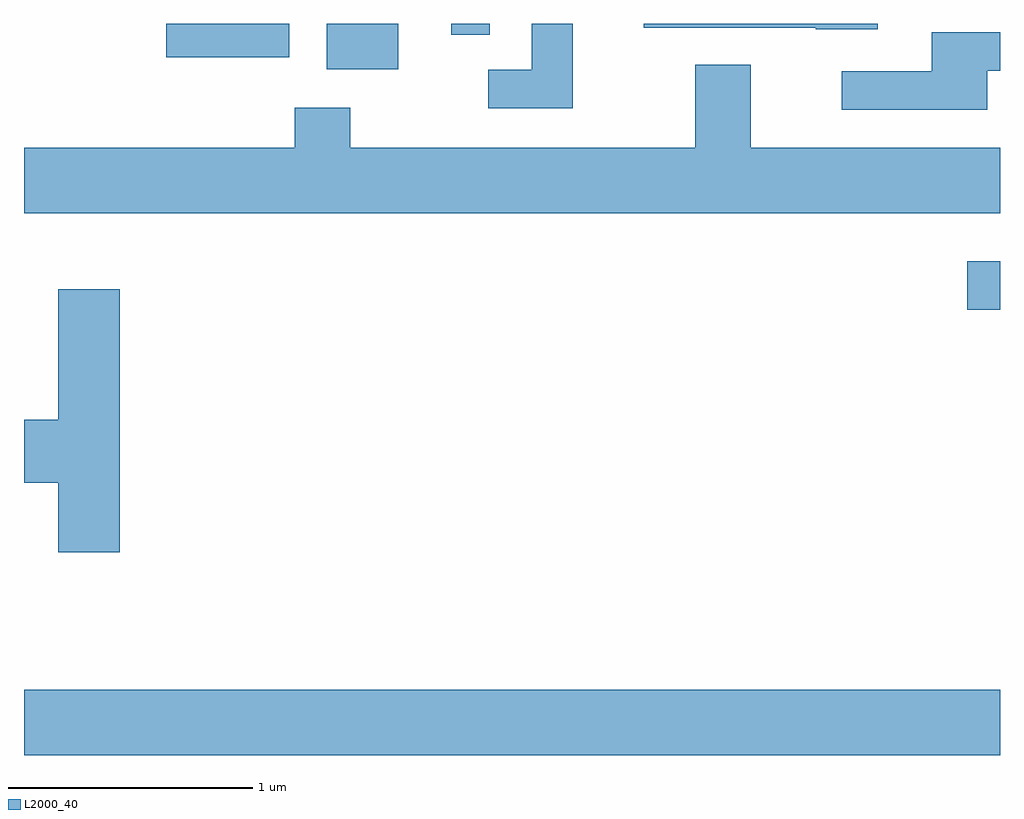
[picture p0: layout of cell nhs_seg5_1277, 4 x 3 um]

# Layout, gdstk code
import gdstk
lib = gdstk.Library(unit=1e-6, precision=1e-09)
def R(c, l, rs):  # rectangles x0, y0, x1, y1
    for r in rs: c.add(gdstk.rectangle(r[:2], r[2:], *l))
def P(c, l, *ps):  # polygons
    for p in ps: c.add(gdstk.Polygon(p, *l))
L2000_40 = (2000, 40)

nhs_seg5_1277 = lib.new_cell('nhs_seg5_1277')
R(nhs_seg5_1277, L2000_40, [(223.611,1399.076,227.611,1399.344), (227.476,1400.901,227.611,1401.099), (224.851,1401.886,225.144,1402.072), (224.193,1401.936,224.699,1402.072), (225.361,1402.028,225.519,1402.072)])
P(nhs_seg5_1277, L2000_40, [(227.109,1402.072),(226.151,1402.072),(226.151,1402.056),(226.855,1402.056),(226.855,1402.051),(227.109,1402.051)],
  [(225.859,1402.072),(225.691,1402.072),(225.691,1401.884),(225.513,1401.884),(225.513,1401.726),(225.859,1401.726)],
  [(227.559,1401.881),(227.611,1401.881),(227.611,1402.039),(227.331,1402.039),(227.331,1401.879),(226.963,1401.879),(226.963,1401.721),(227.559,1401.721)],
  [(227.611,1401.564),(226.589,1401.564),(226.589,1401.904),(226.361,1401.904),(226.361,1401.564),(224.949,1401.564),(224.949,1401.729),(224.721,1401.729),(224.721,1401.564),(223.611,1401.564),(223.611,1401.296),(227.611,1401.296)],
  [(224.004,1400.984),(223.751,1400.984),(223.751,1400.449),(223.611,1400.449),(223.611,1400.191),(223.751,1400.191),(223.751,1399.906),(224.004,1399.906)])

lib.write_gds('nhs_seg5_1277.gds')
